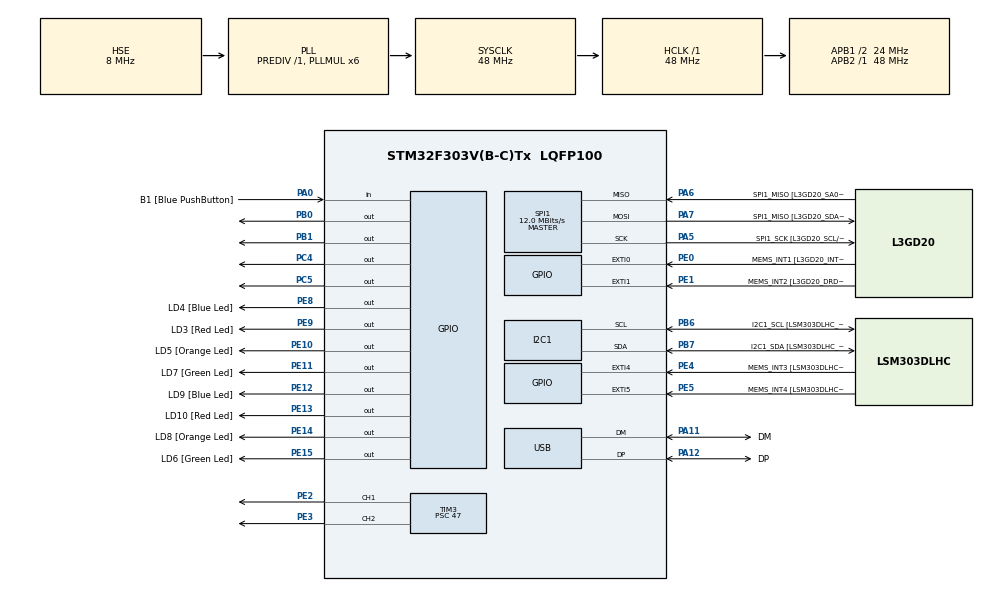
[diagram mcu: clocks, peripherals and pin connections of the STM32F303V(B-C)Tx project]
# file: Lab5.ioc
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I2C1.Timing=0x2000090E
I2C1.Timing-I2C=0x2000090E
Mcu.Family=STM32F3
Mcu.Name=STM32F303V(B-C)Tx
Mcu.Package=LQFP100
NVIC.PriorityGroup=NVIC_PRIORITYGROUP_0
NVIC.USB_LP_CAN_RX0_IRQn=true\:0\:0\:false\:false\:true\:false\:true\:true
PA0.GPIO_Label=B1 [Blue PushButton]
PA0.Signal=GPIO_Input
PA11.GPIO_Label=DM
PA11.Mode=Device
PA11.Signal=USB_DM
PA12.GPIO_Label=DP
PA12.Mode=Device
PA12.Signal=USB_DP
PA13.GPIO_Label=SWDIO
PA13.Mode=Serial_Wire
PA13.Signal=SYS_JTMS-SWDIO
PA14.GPIO_Label=SWCLK
PA14.Mode=Serial_Wire
PA14.Signal=SYS_JTCK-SWCLK
PA5.GPIO_Label=SPI1_SCK [L3GD20_SCL/SPC]
PA5.Mode=Full_Duplex_Master
PA5.Signal=SPI1_SCK
PA6.GPIO_Label=SPI1_MISO [L3GD20_SA0/SDO]
PA6.Mode=Full_Duplex_Master
PA6.Signal=SPI1_MISO
PA7.GPIO_Label=SPI1_MISO [L3GD20_SDA/SDI/SDO]
PA7.Mode=Full_Duplex_Master
PA7.Signal=SPI1_MOSI
PB0.Signal=GPIO_Output
PB1.Signal=GPIO_Output
PB3.GPIO_Label=SWO
PB3.Signal=SYS_JTDO-TRACESWO
PB6.GPIO_Label=I2C1_SCL [LSM303DLHC_SCL]
PB6.GPIO_Pu=GPIO_PULLUP
PB6.Mode=I2C
PB6.Signal=I2C1_SCL
PB7.GPIO_Label=I2C1_SDA [LSM303DLHC_SDA]
PB7.GPIO_Pu=GPIO_PULLUP
PB7.Mode=I2C
PB7.Signal=I2C1_SDA
PC14-OSC32_IN.GPIO_Label=OSC32_IN
PC14-OSC32_IN.Signal=RCC_OSC32_IN
PC15-OSC32_OUT.GPIO_Label=OSC32_OUT
PC15-OSC32_OUT.Signal=RCC_OSC32_OUT
PC4.Signal=GPIO_Output
PC5.Signal=GPIO_Output
PE0.GPIO_Label=MEMS_INT1 [L3GD20_INT1]
PE0.GPIO_ModeDefaultEXTI=GPIO_MODE_EVT_RISING
PE0.Signal=GPXTI0
PE1.GPIO_Label=MEMS_INT2 [L3GD20_DRDY/INT2]
PE1.GPIO_ModeDefaultEXTI=GPIO_MODE_EVT_RISING
PE1.Signal=GPXTI1
PE10.GPIO_Label=LD5 [Orange Led]
PE10.Signal=GPIO_Output
PE11.GPIO_Label=LD7 [Green Led]
PE11.Signal=GPIO_Output
PE12.GPIO_Label=LD9 [Blue Led]
PE12.Signal=GPIO_Output
PE13.GPIO_Label=LD10 [Red Led]
PE13.Signal=GPIO_Output
PE14.GPIO_Label=LD8 [Orange Led]
PE14.Signal=GPIO_Output
PE15.GPIO_Label=LD6 [Green Led]
PE15.Signal=GPIO_Output
PE2.Signal=S_TIM3_CH1
PE3.Signal=S_TIM3_CH2
PE4.GPIO_Label=MEMS_INT3 [LSM303DLHC_INT1]
PE4.GPIO_ModeDefaultEXTI=GPIO_MODE_EVT_RISING
PE4.Signal=GPXTI4
PE5.GPIO_Label=MEMS_INT4 [LSM303DLHC_INT2]
PE5.GPIO_ModeDefaultEXTI=GPIO_MODE_EVT_RISING
PE5.Signal=GPXTI5
PE8.GPIO_Label=LD4 [Blue Led]
PE8.Signal=GPIO_Output
PE9.GPIO_Label=LD3 [Red Led]
PE9.Signal=GPIO_Output
PF0-OSC_IN.GPIO_Label=OSC_IN
PF0-OSC_IN.Mode=HSE-External-Clock-Source
PF0-OSC_IN.Signal=RCC_OSC_IN
PF1-OSC_OUT.GPIO_Label=OSC_OUT
PF1-OSC_OUT.Signal=RCC_OSC_OUT
ProjectManager.HeapSize=0x200
ProjectManager.StackSize=0x400
ProjectManager.TargetToolchain=CMake
RCC.AHBFreq_Value=48000000
RCC.APB1CLKDivider=RCC_HCLK_DIV2
RCC.APB1Freq_Value=24000000
RCC.APB1TimFreq_Value=48000000
RCC.APB2Freq_Value=48000000
RCC.APB2TimFreq_Value=48000000
RCC.CortexFreq_Value=48000000
RCC.HCLKFreq_Value=48000000
RCC.HSE_VALUE=8000000
RCC.HSI_VALUE=8000000
RCC.LSE_VALUE=32768
RCC.PLLMUL=RCC_PLL_MUL6
RCC.SYSCLKFreq_VALUE=48000000
RCC.SYSCLKSourceVirtual=RCC_SYSCLKSOURCE_PLLCLK
RCC.USBFreq_Value=48000000
SH.S_TIM3_CH1.0=TIM3_CH1,PWM Generation1 CH1
SH.S_TIM3_CH2.0=TIM3_CH2,PWM Generation2 CH2
SPI1.BaudRatePrescaler=SPI_BAUDRATEPRESCALER_4
SPI1.BaudRatePrescaler-Full_Duplex_Master=SPI_BAUDRATEPRESCALER_2
SPI1.CalculateBaudRate=12.0 MBits/s
SPI1.CalculateBaudRate-Full_Duplex_Master=24.0 MBits/s
SPI1.Direction=SPI_DIRECTION_2LINES
SPI1.Mode=SPI_MODE_MASTER
SPI1.Mode-Full_Duplex_Master=SPI_MODE_MASTER
SPI1.VirtualType=VM_MASTER
TIM3.Channel-PWM\ Generation1\ CH1=TIM_CHANNEL_1
TIM3.Channel-PWM\ Generation2\ CH2=TIM_CHANNEL_2
TIM3.Period=999
TIM3.Prescaler=47
TIM3.Pulse-PWM\ Generation1\ CH1=500
USB_DEVICE.CLASS_NAME_FS=CDC
USB_DEVICE.VirtualMode=Cdc
USB_DEVICE.VirtualModeFS=Cdc_FS
VP_USB_DEVICE_VS_USB_DEVICE_CDC_FS.Mode=CDC_FS
board=STM32F3DISCOVERY

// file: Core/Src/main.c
/* USER CODE BEGIN Header */
/**
  ******************************************************************************
  * @file           : main.c
  * @brief          : Main program body
  ******************************************************************************
  * @attention
  *
  * Copyright (c) 2026 STMicroelectronics.
  * All rights reserved.
  *
  * This software is licensed under terms that can be found in the LICENSE file
  * in the root directory of this software component.
  * If no LICENSE file comes with this software, it is provided AS-IS.
  *
  ******************************************************************************
  */
/* USER CODE END Header */
#include "main.h"
#include "usb_device.h"

/* USER CODE BEGIN Includes */
#include <stdio.h>
#include <string.h>
#include "stdint.h"
/* USER CODE END Includes */

I2C_HandleTypeDef hi2c1;

SPI_HandleTypeDef hspi1;

TIM_HandleTypeDef htim3;

void SystemClock_Config(void);
static void MX_GPIO_Init(void);
static void MX_I2C1_Init(void);
static void MX_SPI1_Init(void);
static void MX_TIM3_Init(void);

int main(void)
{

  /* MCU Configuration--------------------------------------------------------*/

  /* Reset of all peripherals, Initializes the Flash interface and the Systick. */
  HAL_Init();

  /* Configure the system clock */
  SystemClock_Config();

  /* Initialize all configured peripherals */
  MX_GPIO_Init();
  MX_I2C1_Init();
  MX_SPI1_Init();
  MX_TIM3_Init();
  MX_USB_DEVICE_Init();
  /* USER CODE BEGIN 2 */
    // Start PWM
    HAL_TIM_PWM_Start (&htim3 , TIM_CHANNEL_1);
    // __HAL_TIM_SET_COMPARE(&htim3, TIM_CHANNEL_1, 500);

    // HAL_GPIO_WritePin(GPIOB, GPIO_PIN_0, GPIO_PIN_SET);
    // HAL_GPIO_WritePin(GPIOB, GPIO_PIN_1, GPIO_PIN_RESET);
  /* USER CODE END 2 */

  /* Infinite loop */
  /* USER CODE BEGIN WHILE */
  /* Set both channels to 50% duty cycle */
  HAL_TIM_PWM_Start(&htim3, TIM_CHANNEL_1);
  HAL_TIM_PWM_Start(&htim3, TIM_CHANNEL_2);
  __HAL_TIM_SET_COMPARE(&htim3, TIM_CHANNEL_1, 500);
  __HAL_TIM_SET_COMPARE(&htim3, TIM_CHANNEL_2, 500);

while (1)
{
  // Set the motor in one Counter Clockwise direction
  HAL_GPIO_WritePin(GPIOB, GPIO_PIN_1, GPIO_PIN_SET);
  HAL_GPIO_WritePin(GPIOB, GPIO_PIN_0, GPIO_PIN_RESET);

  // Set the motor in one Clockwise direction
  HAL_GPIO_WritePin(GPIOC, GPIO_PIN_5, GPIO_PIN_SET);
  HAL_GPIO_WritePin(GPIOC, GPIO_PIN_4, GPIO_PIN_RESET);

  HAL_Delay(5000);

  // Set the motor in one Clockwise direction
  HAL_GPIO_WritePin(GPIOB, GPIO_PIN_1, GPIO_PIN_RESET);
  HAL_GPIO_WritePin(GPIOB, GPIO_PIN_0, GPIO_PIN_SET);

  // Set the motor in one Counter Clockwise direction
  HAL_GPIO_WritePin(GPIOC, GPIO_PIN_5, GPIO_PIN_RESET);
  HAL_GPIO_WritePin(GPIOC, GPIO_PIN_4, GPIO_PIN_SET);

  HAL_Delay(5000);
}
    /* USER CODE END WHILE */

  }

void SystemClock_Config(void)
{
  RCC_OscInitTypeDef RCC_OscInitStruct = {0};
  RCC_ClkInitTypeDef RCC_ClkInitStruct = {0};
  RCC_PeriphCLKInitTypeDef PeriphClkInit = {0};

  /** Initializes the RCC Oscillators according to the specified parameters
  * in the RCC_OscInitTypeDef structure.
  */
  RCC_OscInitStruct.OscillatorType = RCC_OSCILLATORTYPE_HSI|RCC_OSCILLATORTYPE_HSE;
  RCC_OscInitStruct.HSEState = RCC_HSE_BYPASS;
  RCC_OscInitStruct.HSEPredivValue = RCC_HSE_PREDIV_DIV1;
  RCC_OscInitStruct.HSIState = RCC_HSI_ON;
  RCC_OscInitStruct.HSICalibrationValue = RCC_HSICALIBRATION_DEFAULT;
  RCC_OscInitStruct.PLL.PLLState = RCC_PLL_ON;
  RCC_OscInitStruct.PLL.PLLSource = RCC_PLLSOURCE_HSE;
  RCC_OscInitStruct.PLL.PLLMUL = RCC_PLL_MUL6;
  if (HAL_RCC_OscConfig(&RCC_OscInitStruct) != HAL_OK)
  {
    Error_Handler();
  }

  /** Initializes the CPU, AHB and APB buses clocks
  */
  RCC_ClkInitStruct.ClockType = RCC_CLOCKTYPE_HCLK|RCC_CLOCKTYPE_SYSCLK
                              |RCC_CLOCKTYPE_PCLK1|RCC_CLOCKTYPE_PCLK2;
  RCC_ClkInitStruct.SYSCLKSource = RCC_SYSCLKSOURCE_PLLCLK;
  RCC_ClkInitStruct.AHBCLKDivider = RCC_SYSCLK_DIV1;
  RCC_ClkInitStruct.APB1CLKDivider = RCC_HCLK_DIV2;
  RCC_ClkInitStruct.APB2CLKDivider = RCC_HCLK_DIV1;

  if (HAL_RCC_ClockConfig(&RCC_ClkInitStruct, FLASH_LATENCY_1) != HAL_OK)
  {
    Error_Handler();
  }
  PeriphClkInit.PeriphClockSelection = RCC_PERIPHCLK_USB|RCC_PERIPHCLK_I2C1;
  PeriphClkInit.I2c1ClockSelection = RCC_I2C1CLKSOURCE_HSI;
  PeriphClkInit.USBClockSelection = RCC_USBCLKSOURCE_PLL;
  if (HAL_RCCEx_PeriphCLKConfig(&PeriphClkInit) != HAL_OK)
  {
    Error_Handler();
  }
}

static void MX_I2C1_Init(void)
{

  hi2c1.Instance = I2C1;
  hi2c1.Init.Timing = 0x2000090E;
  hi2c1.Init.OwnAddress1 = 0;
  hi2c1.Init.AddressingMode = I2C_ADDRESSINGMODE_7BIT;
  hi2c1.Init.DualAddressMode = I2C_DUALADDRESS_DISABLE;
  hi2c1.Init.OwnAddress2 = 0;
  hi2c1.Init.OwnAddress2Masks = I2C_OA2_NOMASK;
  hi2c1.Init.GeneralCallMode = I2C_GENERALCALL_DISABLE;
  hi2c1.Init.NoStretchMode = I2C_NOSTRETCH_DISABLE;
  if (HAL_I2C_Init(&hi2c1) != HAL_OK)
  {
    Error_Handler();
  }

  /** Configure Analogue filter
  */
  if (HAL_I2CEx_ConfigAnalogFilter(&hi2c1, I2C_ANALOGFILTER_ENABLE) != HAL_OK)
  {
    Error_Handler();
  }

  /** Configure Digital filter
  */
  if (HAL_I2CEx_ConfigDigitalFilter(&hi2c1, 0) != HAL_OK)
  {
    Error_Handler();
  }

}

static void MX_SPI1_Init(void)
{

  /* SPI1 parameter configuration*/
  hspi1.Instance = SPI1;
  hspi1.Init.Mode = SPI_MODE_MASTER;
  hspi1.Init.Direction = SPI_DIRECTION_2LINES;
  hspi1.Init.DataSize = SPI_DATASIZE_4BIT;
  hspi1.Init.CLKPolarity = SPI_POLARITY_LOW;
  hspi1.Init.CLKPhase = SPI_PHASE_1EDGE;
  hspi1.Init.NSS = SPI_NSS_SOFT;
  hspi1.Init.BaudRatePrescaler = SPI_BAUDRATEPRESCALER_4;
  hspi1.Init.FirstBit = SPI_FIRSTBIT_MSB;
  hspi1.Init.TIMode = SPI_TIMODE_DISABLE;
  hspi1.Init.CRCCalculation = SPI_CRCCALCULATION_DISABLE;
  hspi1.Init.CRCPolynomial = 7;
  hspi1.Init.CRCLength = SPI_CRC_LENGTH_DATASIZE;
  hspi1.Init.NSSPMode = SPI_NSS_PULSE_ENABLE;
  if (HAL_SPI_Init(&hspi1) != HAL_OK)
  {
    Error_Handler();
  }

}

static void MX_TIM3_Init(void)
{

  TIM_MasterConfigTypeDef sMasterConfig = {0};
  TIM_OC_InitTypeDef sConfigOC = {0};

  htim3.Instance = TIM3;
  htim3.Init.Prescaler = 47;
  htim3.Init.CounterMode = TIM_COUNTERMODE_UP;
  htim3.Init.Period = 999;
  htim3.Init.ClockDivision = TIM_CLOCKDIVISION_DIV1;
  htim3.Init.AutoReloadPreload = TIM_AUTORELOAD_PRELOAD_DISABLE;
  if (HAL_TIM_PWM_Init(&htim3) != HAL_OK)
  {
    Error_Handler();
  }
  sMasterConfig.MasterOutputTrigger = TIM_TRGO_RESET;
  sMasterConfig.MasterSlaveMode = TIM_MASTERSLAVEMODE_DISABLE;
  if (HAL_TIMEx_MasterConfigSynchronization(&htim3, &sMasterConfig) != HAL_OK)
  {
    Error_Handler();
  }
  sConfigOC.OCMode = TIM_OCMODE_PWM1;
  sConfigOC.Pulse = 500;
  sConfigOC.OCPolarity = TIM_OCPOLARITY_HIGH;
  sConfigOC.OCFastMode = TIM_OCFAST_DISABLE;
  if (HAL_TIM_PWM_ConfigChannel(&htim3, &sConfigOC, TIM_CHANNEL_1) != HAL_OK)
  {
    Error_Handler();
  }
  sConfigOC.Pulse = 0;
  if (HAL_TIM_PWM_ConfigChannel(&htim3, &sConfigOC, TIM_CHANNEL_2) != HAL_OK)
  {
    Error_Handler();
  }
  HAL_TIM_MspPostInit(&htim3);

}

static void MX_GPIO_Init(void)
{
  GPIO_InitTypeDef GPIO_InitStruct = {0};

  /* GPIO Ports Clock Enable */
  __HAL_RCC_GPIOE_CLK_ENABLE();
  __HAL_RCC_GPIOC_CLK_ENABLE();
  __HAL_RCC_GPIOF_CLK_ENABLE();
  __HAL_RCC_GPIOA_CLK_ENABLE();
  __HAL_RCC_GPIOB_CLK_ENABLE();

  /*Configure GPIO pin Output Level */
  HAL_GPIO_WritePin(GPIOC, GPIO_PIN_4|GPIO_PIN_5, GPIO_PIN_RESET);

  /*Configure GPIO pin Output Level */
  HAL_GPIO_WritePin(GPIOB, GPIO_PIN_0|GPIO_PIN_1, GPIO_PIN_RESET);

  /*Configure GPIO pin Output Level */
  HAL_GPIO_WritePin(GPIOE, LD4_Pin|LD3_Pin|LD5_Pin|LD7_Pin
                          |LD9_Pin|LD10_Pin|LD8_Pin|LD6_Pin, GPIO_PIN_RESET);

  /*Configure GPIO pins : MEMS_INT3_Pin MEMS_INT4_Pin MEMS_INT1_Pin MEMS_INT2_Pin */
  GPIO_InitStruct.Pin = MEMS_INT3_Pin|MEMS_INT4_Pin|MEMS_INT1_Pin|MEMS_INT2_Pin;
  GPIO_InitStruct.Mode = GPIO_MODE_EVT_RISING;
  GPIO_InitStruct.Pull = GPIO_NOPULL;
  HAL_GPIO_Init(GPIOE, &GPIO_InitStruct);

  /*Configure GPIO pin : B1_Pin */
  GPIO_InitStruct.Pin = B1_Pin;
  GPIO_InitStruct.Mode = GPIO_MODE_INPUT;
  GPIO_InitStruct.Pull = GPIO_NOPULL;
  HAL_GPIO_Init(B1_GPIO_Port, &GPIO_InitStruct);

  /*Configure GPIO pins : PC4 PC5 */
  GPIO_InitStruct.Pin = GPIO_PIN_4|GPIO_PIN_5;
  GPIO_InitStruct.Mode = GPIO_MODE_OUTPUT_PP;
  GPIO_InitStruct.Pull = GPIO_NOPULL;
  GPIO_InitStruct.Speed = GPIO_SPEED_FREQ_LOW;
  HAL_GPIO_Init(GPIOC, &GPIO_InitStruct);

  /*Configure GPIO pins : PB0 PB1 */
  GPIO_InitStruct.Pin = GPIO_PIN_0|GPIO_PIN_1;
  GPIO_InitStruct.Mode = GPIO_MODE_OUTPUT_PP;
  GPIO_InitStruct.Pull = GPIO_NOPULL;
  GPIO_InitStruct.Speed = GPIO_SPEED_FREQ_LOW;
  HAL_GPIO_Init(GPIOB, &GPIO_InitStruct);

  /*Configure GPIO pins : LD4_Pin LD3_Pin LD5_Pin LD7_Pin
                           LD9_Pin LD10_Pin LD8_Pin LD6_Pin */
  GPIO_InitStruct.Pin = LD4_Pin|LD3_Pin|LD5_Pin|LD7_Pin
                          |LD9_Pin|LD10_Pin|LD8_Pin|LD6_Pin;
  GPIO_InitStruct.Mode = GPIO_MODE_OUTPUT_PP;
  GPIO_InitStruct.Pull = GPIO_NOPULL;
  GPIO_InitStruct.Speed = GPIO_SPEED_FREQ_LOW;
  HAL_GPIO_Init(GPIOE, &GPIO_InitStruct);

}

void Error_Handler(void)
{
  __disable_irq();
  while (1)
  {
  }
}
